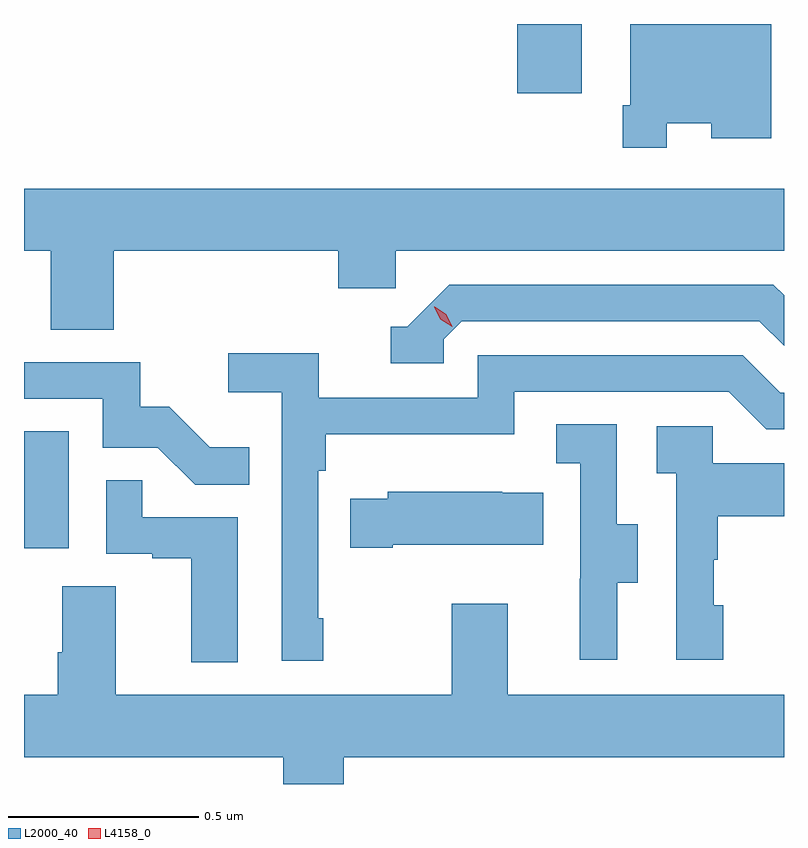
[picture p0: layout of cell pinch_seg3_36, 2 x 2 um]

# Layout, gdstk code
import gdstk
lib = gdstk.Library(unit=1e-6, precision=1e-09)
def R(c, l, rs):  # rectangles x0, y0, x1, y1
    for r in rs: c.add(gdstk.rectangle(r[:2], r[2:], *l))
def P(c, l, *ps):  # polygons
    for p in ps: c.add(gdstk.Polygon(p, *l))
L2000_40 = (2000, 40)
L4158_0 = (4158, 0)

pinch_seg3_36 = lib.new_cell('pinch_seg3_36')
R(pinch_seg3_36, L2000_40, [(1090.44,734.766,1090.558,735.073), (1091.738,735.963,1091.908,736.145)])
P(pinch_seg3_36, L2000_40, [(1092.132,735.884),(1092.248,735.884),(1092.248,735.845),(1092.406,735.845),(1092.406,736.145),(1092.036,736.145),(1092.036,735.931),(1092.016,735.931),(1092.016,735.819),(1092.132,735.819)],
  [(1090.676,735.548),(1091.267,735.548),(1091.267,735.45),(1091.418,735.45),(1091.418,735.548),(1092.44,735.548),(1092.44,735.712),(1090.44,735.712),(1090.44,735.548),(1090.511,735.548),(1090.511,735.34),(1090.676,735.34)],
  [(1091.544,735.315),(1091.592,735.363),(1092.375,735.363),(1092.44,735.298),(1092.44,735.431),(1092.412,735.459),(1091.559,735.459),(1091.448,735.348),(1091.405,735.348),(1091.405,735.252),(1091.544,735.252)],
  [(1091.227,734.581),(1091.214,734.581),(1091.214,734.969),(1091.234,734.969),(1091.234,735.065),(1091.73,735.065),(1091.73,735.177),(1092.294,735.177),(1092.393,735.078),(1092.44,735.078),(1092.44,735.174),(1092.43,735.174),(1092.331,735.273),(1091.634,735.273),(1091.634,735.162),(1091.216,735.162),(1091.216,735.278),(1090.977,735.278),(1090.977,735.176),(1091.118,735.176),(1091.118,734.469),(1091.227,734.469)],
  [(1091.033,735.031),(1090.929,735.031),(1090.822,735.138),(1090.746,735.138),(1090.746,735.255),(1090.44,735.255),(1090.44,735.159),(1090.647,735.159),(1090.647,735.03),(1090.792,735.03),(1090.89,734.932),(1091.033,734.932)],
  [(1092.001,734.674),(1092.055,734.674),(1092.055,734.829),(1092,734.829),(1092,735.092),(1091.841,735.092),(1091.841,734.989),(1091.904,734.989),(1091.904,734.685),(1091.903,734.685),(1091.903,734.472),(1092.001,734.472)],
  [(1092.28,734.616),(1092.255,734.616),(1092.255,734.735),(1092.265,734.735),(1092.265,734.849),(1092.44,734.849),(1092.44,734.989),(1092.252,734.989),(1092.252,735.087),(1092.105,735.087),(1092.105,734.963),(1092.156,734.963),(1092.156,734.472),(1092.28,734.472)],
  [(1091.002,734.847),(1090.751,734.847),(1090.751,734.945),(1090.656,734.945),(1090.656,734.751),(1090.777,734.751),(1090.777,734.739),(1090.88,734.739),(1090.88,734.465),(1091.002,734.465)],
  [(1091.41,734.774),(1091.807,734.774),(1091.807,734.911),(1091.699,734.911),(1091.699,734.914),(1091.397,734.914),(1091.397,734.896),(1091.299,734.896),(1091.299,734.767),(1091.41,734.767)],
  [(1091.282,734.216),(1092.44,734.216),(1092.44,734.38),(1091.713,734.38),(1091.713,734.62),(1091.566,734.62),(1091.566,734.38),(1090.681,734.38),(1090.681,734.666),(1090.541,734.666),(1090.541,734.492),(1090.529,734.492),(1090.529,734.38),(1090.44,734.38),(1090.44,734.216),(1091.122,734.216),(1091.122,734.145),(1091.282,734.145)])
P(pinch_seg3_36, L4158_0, [(1091.567,735.348),(1091.536,735.368),(1091.52,735.401),(1091.52,735.401),(1091.521,735.401),(1091.551,735.381),(1091.567,735.348),(1091.567,735.348)])

lib.write_gds('pinch_seg3_36.gds')
